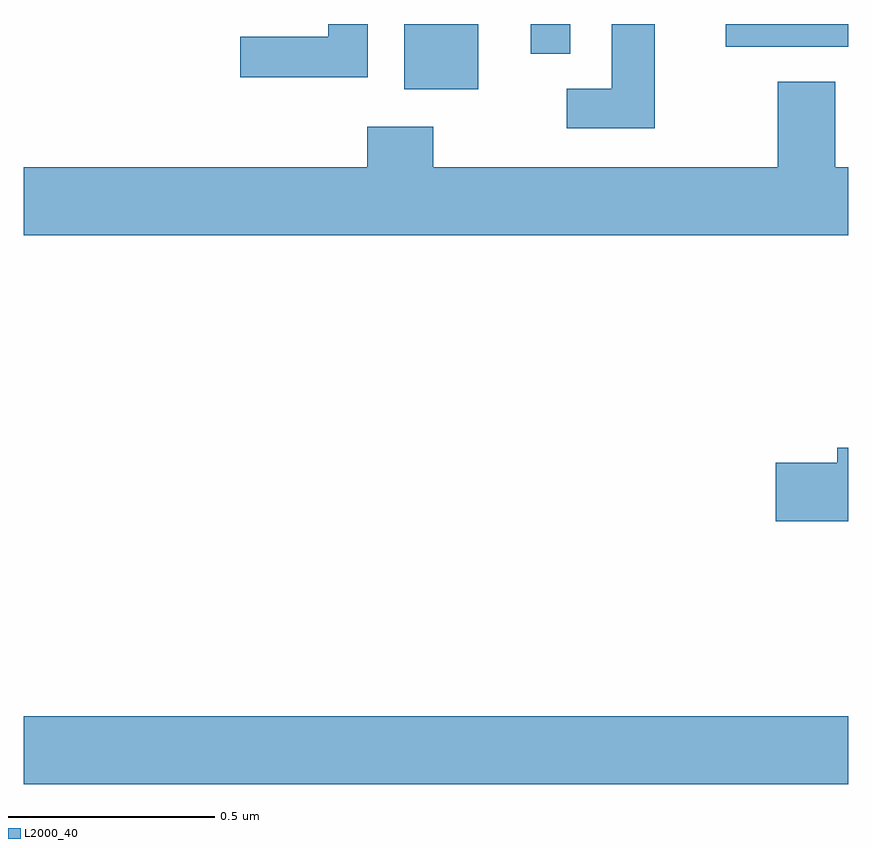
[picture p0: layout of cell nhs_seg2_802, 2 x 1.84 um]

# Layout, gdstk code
import gdstk
lib = gdstk.Library(unit=1e-6, precision=1e-09)
def R(c, l, rs):  # rectangles x0, y0, x1, y1
    for r in rs: c.add(gdstk.rectangle(r[:2], r[2:], *l))
def P(c, l, *ps):  # polygons
    for p in ps: c.add(gdstk.Polygon(p, *l))
L2000_40 = (2000, 40)

nhs_seg2_802 = lib.new_cell('nhs_seg2_802')
R(nhs_seg2_802, L2000_40, [(120,660.956,122,661.12), (120.923,662.642,121.102,662.8), (121.23,662.728,121.326,662.8), (121.703,662.745,122,662.8)])
P(nhs_seg2_802, L2000_40, [(121.531,662.8),(121.427,662.8),(121.427,662.643),(121.317,662.643),(121.317,662.547),(121.531,662.547)],
  [(120.834,662.8),(120.738,662.8),(120.738,662.769),(120.525,662.769),(120.525,662.671),(120.834,662.671)],
  [(122,662.452),(121.969,662.452),(121.969,662.66),(121.829,662.66),(121.829,662.452),(120.993,662.452),(120.993,662.551),(120.833,662.551),(120.833,662.452),(120,662.452),(120,662.288),(122,662.288)],
  [(122,661.772),(121.973,661.772),(121.973,661.736),(121.824,661.736),(121.824,661.594),(122,661.594)])

lib.write_gds('nhs_seg2_802.gds')
